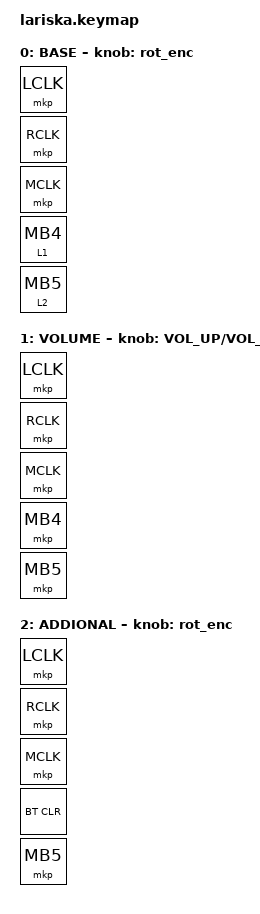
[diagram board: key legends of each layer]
#include <behaviors.dtsi>
#include <dt-bindings/zmk/bt.h>
#include <dt-bindings/zmk/keys.h>
#include <dt-bindings/zmk/outputs.h>
#include <dt-bindings/zmk/pointing.h>

#include <input/processors/report_rate_limit.dtsi>

#define U_TAPPING_TERM 220
#define U_QUICK_TAP 200

#define BASE 0
#define VOLUME 1
#define ADDIONAL 2


&zip_report_rate_limit {
        limit-ble-only;
};

/ {

    behaviors {
        u_lt_mouse: u_lt_mouse {
            compatible = "zmk,behavior-hold-tap";
            #binding-cells = <2>;
            tapping-term-ms = <U_TAPPING_TERM>;
            quick-tap-ms = <U_QUICK_TAP>;
            flavor = "tap-preferred";
            bindings = <&mo>, <&mkp>;
        };

        ec_s: mouse_scroll {
            compatible = "zmk,behavior-input-two-axis";
            #binding-cells = <1>;
            trigger-period-ms = <3>;
            x-input-code = <INPUT_REL_HWHEEL>;
            y-input-code = <INPUT_REL_WHEEL>;
            time-to-max-speed-ms = <100>;
            acceleration-exponent = <0>;
        };

        rot_enc: sensor_rotate {
            compatible = "zmk,behavior-sensor-rotate";
            #sensor-binding-cells = <0>;
            bindings = <&ec_s MOVE_Y(-37)>, <&ec_s MOVE_Y(37)>;
            tap-ms = <65>;
        };
    };

    mou0_mmv_il {
        compatible = "zmk,input-listener";
        device = <&mou0>;
        limiter {
                layers = <BASE VOLUME ADDIONAL>;
                input-processors = <&zip_report_rate_limit 15>;
        };
    };

    keymap {
        compatible = "zmk,keymap";

        BASE {
            bindings = <
                &mkp LCLK
                &mkp RCLK
                &mkp MCLK
                &u_lt_mouse 1 MB4
                &u_lt_mouse 2 MB5
            >;
            sensor-bindings = <&rot_enc>;
        };

        VOLUME {
            bindings = <
                &mkp LCLK
                &mkp RCLK
                &mkp MCLK
                &mkp MB4
                &mkp MB5
            >;
            sensor-bindings = <&inc_dec_kp C_VOL_UP C_VOL_DN>;
        };

        ADDIONAL {
            bindings = <
                &mkp LCLK
                &mkp RCLK
                &mkp MCLK
                &bt BT_CLR
                &mkp MB5
            >;
            sensor-bindings = <&rot_enc>;
        };

    };
};
